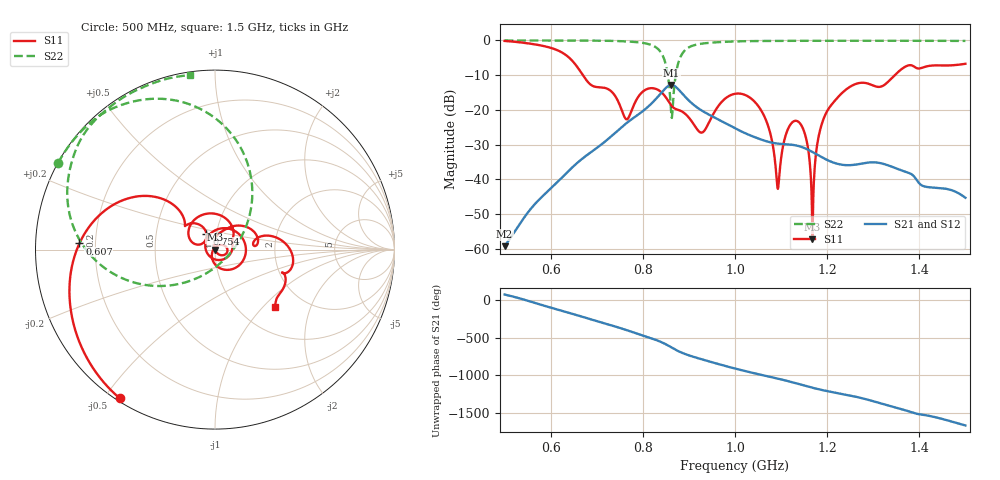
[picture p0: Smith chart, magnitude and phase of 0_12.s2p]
! TOUCHSTONE file generated by CST MICROWAVE STUDIO
! Date and time: Mon Sep 28 14:07:54 2020
! Project name: Scenario_1_Free_SPace.cst
! Parameters = {dx1=363.7; L_HA=400; MT=2.54; Rad_Dielectric=30; Rad_Lower=7.3; Rad_Upper=30; a_HA=580; a_WG=246; b_HA=500; b_WG=121; c_HA=0; c_WG=187; d_feed=85; h_feed=15; h_lower=18; h_upper=40}
! Header version: 2018
! Port assignment regex: !\s*Touchstone port\s*([0-9]+)\s*=\s*(CST MWS port|CST DS port)\s*([0-9]+|Zmin|Zmax)\s*\(\"(.*)\"\)(\s*mode\s*([0-9]+))?.*
! Touchstone port assignment:
! Touchstone port 1 = CST MWS port 1 ("")
! Touchstone port 2 = CST MWS port 2 ("")
# GHz S DB R 50
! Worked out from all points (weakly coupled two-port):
!   1003 points, 500 MHz to 1.5 GHz, reference 50 ohm
!   highest |S21| = -12.84 dB at 862 MHz (marker M1); lowest = -59.2 dB at 500 MHz (marker M2)
!   lowest |S11| = -57.2 dB at 1.168 GHz (marker M3), VSWR 1.00, Z = 49.9 - j0.0916 ohm
!   |S11| at or under -10 dB: 669.9 MHz to 1.346 GHz (676.6 MHz wide, 67.1 % of centre)
!   |S22| runs from -22.3 to 0.0 dB; largest |S21 - S12| = 0.0015
!   S11 on the Smith chart (normalised r, x): 500 MHz: 0.01, -0.55; 607 MHz: 0.14, +0.02; 754 MHz: 0.90, +0.16; 1.5 GHz: 1.44, -1.17
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0.5  -0.14 -122.7  -59.20 71.5  -59.20 71.5  -0.01 151.1
0.607  -2.43 177.4  -41.75 -113.0  -41.75 -113.0  -0.02 143.6
0.667  -9.43 132.8  -34.20 139.6  -34.20 139.6  -0.04 138.4
0.754  -19.98 118.3  -24.95 -19.1  -24.95 -19.1  -0.22 126.9
0.834  -14.30 80.4  -15.99 176.0  -15.99 176.0  -2.60 90.8
0.849  -16.21 50.3  -13.77 134.4  -13.77 134.4  -6.54 65.4
0.862  -18.73 31.3  -12.84 90.1  -12.84 90.1  -21.81 -23.2
0.878  -20.04 11.9  -14.19 37.2  -14.18 37.3  -6.02 -159.1
0.898  -21.92 -32.5  -17.06 -11.5  -17.06 -11.5  -2.13 172.9
0.929  -26.49 -151.9  -20.27 -69.9  -20.27 -69.9  -0.91 155.6
1  -15.35 9.5  -25.29 169.7  -25.29 169.7  -0.29 140.9
1.061  -21.13 -86.6  -28.71 79.8  -28.71 79.8  -0.16 133.6
1.093  -42.72 143.8  -29.69 35.6  -29.69 35.6  -0.13 130.6
1.114  -25.78 29.7  -29.90 4.3  -29.90 4.3  -0.12 128.7
1.141  -23.85 -23.5  -30.50 -40.7  -30.50 -40.7  -0.11 126.5
1.156  -29.21 -51.2  -31.28 -66.1  -31.28 -66.1  -0.11 125.3
1.167  -48.61 -86.5  -32.03 -83.8  -32.03 -83.8  -0.10 124.4
1.168  -57.21 -138.3  -32.10 -85.3  -32.10 -85.3  -0.10 124.3
1.184  -26.15 93.3  -33.29 -108.8  -33.29 -108.8  -0.09 123.1
1.205  -19.28 69.1  -34.70 -136.1  -34.70 -136.1  -0.09 121.4
1.334  -11.66 16.0  -36.02 35.2  -36.02 35.2  -0.09 111.7
1.5  -6.72 -43.8  -45.26 134.3  -45.15 134.6  -0.14 98.2
